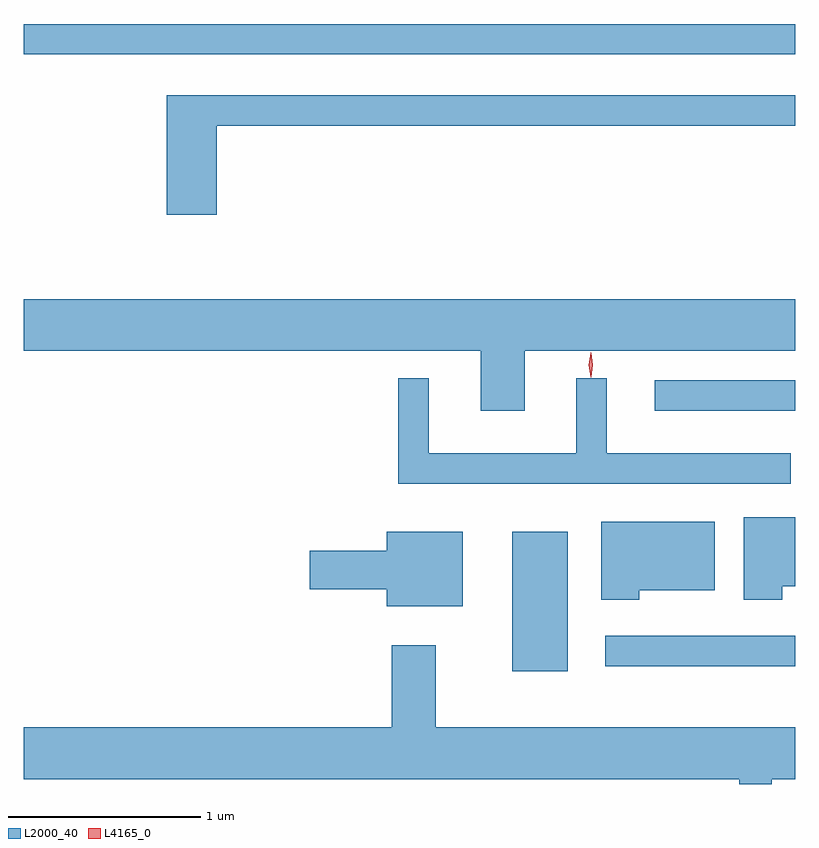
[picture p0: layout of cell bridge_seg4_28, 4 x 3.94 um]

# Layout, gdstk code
import gdstk
lib = gdstk.Library(unit=1e-6, precision=1e-09)
def R(c, l, rs):  # rectangles x0, y0, x1, y1
    for r in rs: c.add(gdstk.rectangle(r[:2], r[2:], *l))
def P(c, l, *ps):  # polygons
    for p in ps: c.add(gdstk.Polygon(p, *l))
L2000_40 = (2000, 40)
L4165_0 = (4165, 0)

bridge_seg4_28 = lib.new_cell('bridge_seg4_28')
R(bridge_seg4_28, L2000_40, [(1169.066,1268.656,1169.354,1269.379), (1169.548,1268.681,1170.533,1268.839), (1169.803,1270.006,1170.533,1270.164), (1166.533,1271.851,1170.533,1272.009)])
P(bridge_seg4_28, L2000_40, [(1167.534,1271.481),(1170.533,1271.481),(1170.533,1271.639),(1167.276,1271.639),(1167.276,1271.021),(1167.534,1271.021)],
  [(1169.129,1270.316),(1170.533,1270.316),(1170.533,1270.584),(1166.533,1270.584),(1166.533,1270.316),(1168.901,1270.316),(1168.901,1270.006),(1169.129,1270.006)],
  [(1170.508,1269.784),(1169.554,1269.784),(1169.554,1270.173),(1169.396,1270.173),(1169.396,1269.784),(1168.634,1269.784),(1168.634,1270.173),(1168.476,1270.173),(1168.476,1269.626),(1170.508,1269.626)],
  [(1170.464,1269.096),(1170.533,1269.096),(1170.533,1269.454),(1170.266,1269.454),(1170.266,1269.026),(1170.464,1269.026)],
  [(1169.724,1269.076),(1170.114,1269.076),(1170.114,1269.429),(1169.526,1269.429),(1169.526,1269.026),(1169.724,1269.026)],
  [(1168.809,1269.379),(1168.416,1269.379),(1168.416,1269.279),(1168.016,1269.279),(1168.016,1269.081),(1168.416,1269.081),(1168.416,1268.991),(1168.809,1268.991)],
  [(1170.409,1268.096),(1170.533,1268.096),(1170.533,1268.364),(1168.669,1268.364),(1168.669,1268.789),(1168.441,1268.789),(1168.441,1268.364),(1166.533,1268.364),(1166.533,1268.096),(1170.241,1268.096),(1170.241,1268.071),(1170.409,1268.071)])
P(bridge_seg4_28, L4165_0, [(1169.473,1270.178),(1169.473,1270.178),(1169.463,1270.242),(1169.472,1270.306),(1169.473,1270.307),(1169.474,1270.306),(1169.483,1270.242),(1169.474,1270.178)])

lib.write_gds('bridge_seg4_28.gds')
